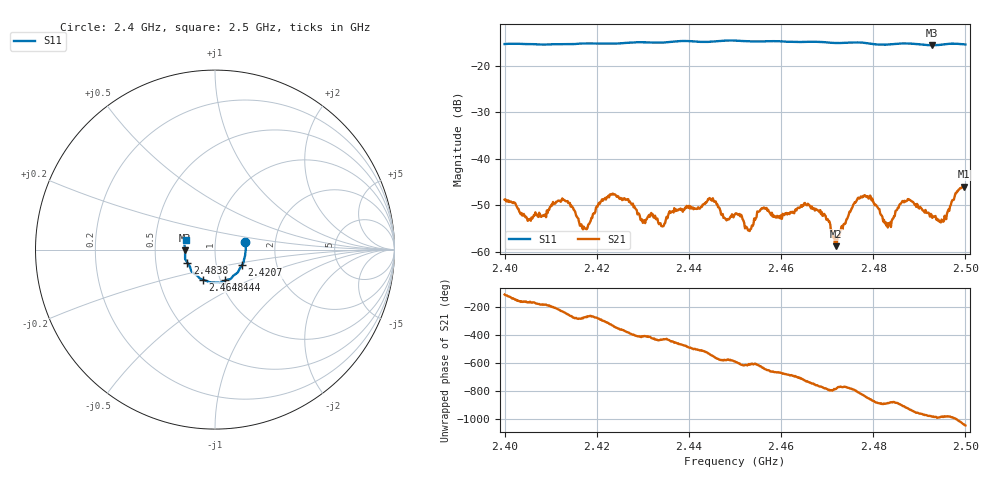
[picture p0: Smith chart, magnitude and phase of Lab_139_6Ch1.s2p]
# Hz S RI R 50
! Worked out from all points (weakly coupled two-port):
!   601 points, 2.4 GHz to 2.5 GHz, reference 50 ohm
!   highest |S21| = -45.95 dB at 2.4997 GHz (marker M1); lowest = -58.8 dB at 2.472 GHz (marker M2)
!   lowest |S11| = -15.6 dB at 2.4928 GHz (marker M3), VSWR 1.40, Z = 35.7 - j0.322 ohm
!   |S11| at or under -10 dB: start of sweep to end of sweep
!   S12 and S22 are empty: the file has one direction only
!   S11 on the Smith chart (normalised r, x): 2.4 GHz: 1.39, +0.12; 2.4207 GHz: 1.33, -0.24; 2.444 GHz: 1.05, -0.37; 2.4648 GHz: 0.83, -0.29; 2.4838 GHz: 0.73, -0.11; 2.5 GHz: 0.72, +0.08
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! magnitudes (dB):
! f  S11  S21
! 2.4 GHz  -15.3  -48.7
! 2.4055 GHz  -15.3  -52.9
! 2.413 GHz  -15.3  -48.9
! 2.4167 GHz  -15.2  -54.0
! 2.4207 GHz  -15.2  -49.6
! 2.4237 GHz  -15.2  -47.6
! 2.4333 GHz  -15.0  -53.7
! 2.444 GHz  -14.8  -49.0
! 2.45 GHz  -14.6  -51.9
! 2.453 GHz  -14.7  -55.4
! 2.456 GHz  -14.7  -50.7
! 2.4648 GHz  -14.9  -50.1
! 2.4667 GHz  -14.8  -50.2
! 2.472 GHz  -15.1  -58.8
! 2.4777 GHz  -15.0  -48.2
! 2.4833 GHz  -15.4  -53.8
! 2.4838 GHz  -15.4  -54.6
! 2.4873 GHz  -15.2  -49.0
! 2.4928 GHz  -15.6  -52.7
! 2.4953 GHz  -15.4  -53.3
! 2.4997 GHz  -15.4  -46.0
! 2.5 GHz  -15.4  -46.0
